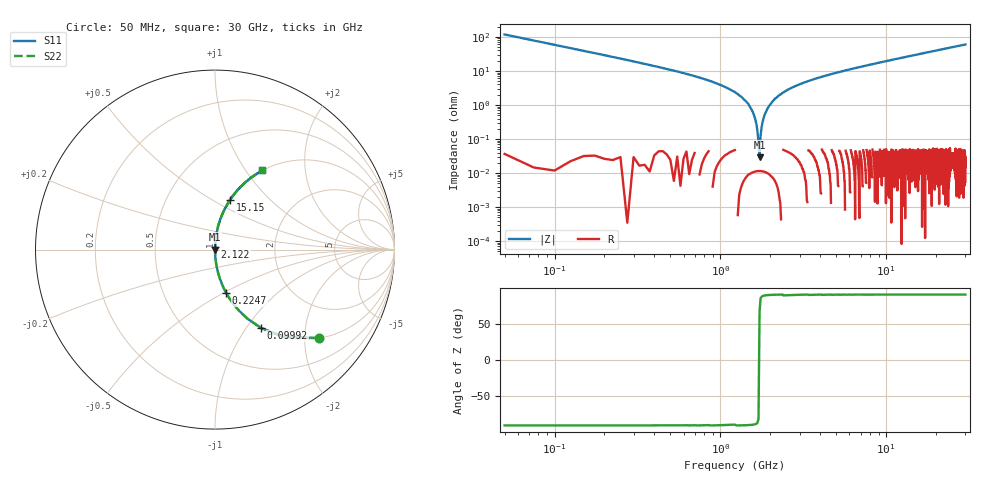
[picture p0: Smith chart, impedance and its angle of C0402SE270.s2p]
!	AVX Thin Film Operation 	Date: April 2014
!	Description: Accu-P® Series, Thin Film  SMD RF Capacitor
!	Part Number: 04023K270FBSTR
# MHZ S MA R 50
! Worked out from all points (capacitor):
!   1201 points, 50 MHz to 30 GHz, reference 50 ohm
!   read as one part in series: C = 27 pF near 199.8 MHz
!   lowest |Z| = 28.8 mohm at 1.722 GHz (marker M1)
!   series resonance near 1.716 GHz, so ESL is about 320 pH
!   S11 on the Smith chart (normalised r, x): 50 MHz: 1.00, -2.36; 99.92 MHz: 1.00, -1.18; 224.7 MHz: 1.00, -0.52; 2.122 GHz: 1.00, +0.03; 15.15 GHz: 1.00, +0.60; 30 GHz: 1.00, +1.20
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50  0.762 -40.3  0.647 49.7  0.647 49.7  0.762 -40.3
99.917  0.507 -59.5  0.862 30.4  0.862 30.4  0.507 -59.5
224.708  0.25 -75.5  0.968 14.5  0.968 14.5  0.25 -75.5
349.5  0.16 -80.7  0.987 9.2  0.987 9.2  0.16 -80.7
549.167  0.096 -84.4  0.995 5.5  0.995 5.5  0.096 -84.4
1322.875  0.018 -88.2  1 1.0  1 1.0  0.018 -88.2
1497.583  0.009366 -88.1  1 0.5  1 0.5  0.009366 -88.1
1622.375  0.003844 -86.3  1 0.2  1 0.2  0.003844 -86.3
1722.208  0.0003526 49.3  1 -0.0  1 -0.0  0.0003526 49.3
1822.042  0.004148 86.6  1 -0.2  1 -0.2  0.004148 86.6
1946.833  0.008716 88.0  1 -0.5  1 -0.5  0.008716 88.0
2121.542  0.015 88.3  1 -0.8  1 -0.8  0.015 88.3
2495.917  0.026 88.0  0.999 -1.5  0.999 -1.5  0.026 88.0
3020.042  0.041 87.3  0.999 -2.3  0.999 -2.3  0.041 87.3
3868.625  0.062 86.2  0.998 -3.6  0.998 -3.6  0.062 86.2
5041.667  0.089 84.8  0.996 -5.1  0.996 -5.1  0.089 84.8
10058.29  0.192 78.9  0.981 -11.1  0.981 -11.1  0.192 78.9
15025  0.285 73.4  0.958 -16.5  0.958 -16.5  0.285 73.4
15149.79  0.287 73.3  0.958 -16.7  0.958 -16.7  0.287 73.3
20016.67  0.37 68.3  0.929 -21.7  0.929 -21.7  0.37 68.3
25033.29  0.446 63.5  0.895 -26.5  0.895 -26.5  0.446 63.5
30000  0.514 59.1  0.858 -30.9  0.858 -30.9  0.514 59.1
